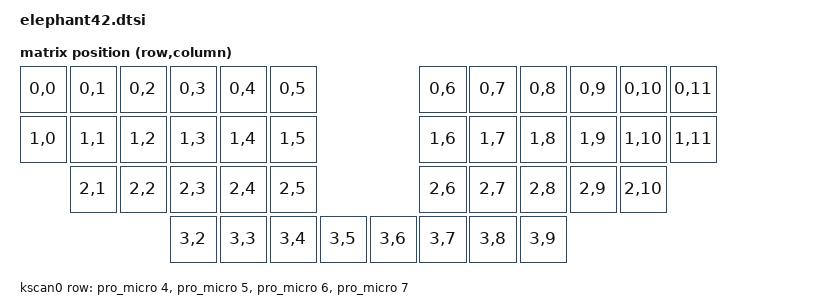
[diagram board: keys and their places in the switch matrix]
/*
 * Copyright (c) 2021 The ZMK Contributors
 *
 * SPDX-License-Identifier: MIT
 */

#include <dt-bindings/zmk/matrix_transform.h>

/ {
    chosen {
        zmk,kscan = &kscan0;
        zmk,matrix-transform = &default_transform;
    };

    default_transform: keymap_transform_0 {
        compatible = "zmk,matrix-transform";
        columns = <12>;
        rows = <4>;
        map = <
RC(0,0) RC(0,1) RC(0,2) RC(0,3) RC(0,4) RC(0,5)                 RC(0,6) RC(0,7) RC(0,8) RC(0,9) RC(0,10) RC(0,11)
RC(1,0) RC(1,1) RC(1,2) RC(1,3) RC(1,4) RC(1,5)                 RC(1,6) RC(1,7) RC(1,8) RC(1,9) RC(1,10) RC(1,11)
        RC(2,1) RC(2,2) RC(2,3) RC(2,4) RC(2,5)                 RC(2,6) RC(2,7) RC(2,8) RC(2,9) RC(2,10)
                        RC(3,2) RC(3,3) RC(3,4) RC(3,5) RC(3,6) RC(3,7) RC(3,8) RC(3,9)
        >;
    };

    kscan0: kscan {
        compatible = "zmk,kscan-gpio-matrix";

        diode-direction = "col2row";
        row-gpios
            = <&pro_micro 4 (GPIO_ACTIVE_HIGH | GPIO_PULL_DOWN)>
            , <&pro_micro 5 (GPIO_ACTIVE_HIGH | GPIO_PULL_DOWN)>
            , <&pro_micro 6 (GPIO_ACTIVE_HIGH | GPIO_PULL_DOWN)>
            , <&pro_micro 7 (GPIO_ACTIVE_HIGH | GPIO_PULL_DOWN)>
            ;

    };
};

&pro_micro_i2c {
    status = "okay";

    oled: ssd1306@3c {
        compatible = "solomon,ssd1306fb";
        reg = <0x3c>;
        width = <128>;
        height = <32>;
        segment-offset = <0>;
        page-offset = <0>;
        display-offset = <0>;
        multiplex-ratio = <31>;
        segment-remap;
        com-invdir;
        com-sequential;
        inversion-on;
        prechargep = <0x22>;
    };
};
